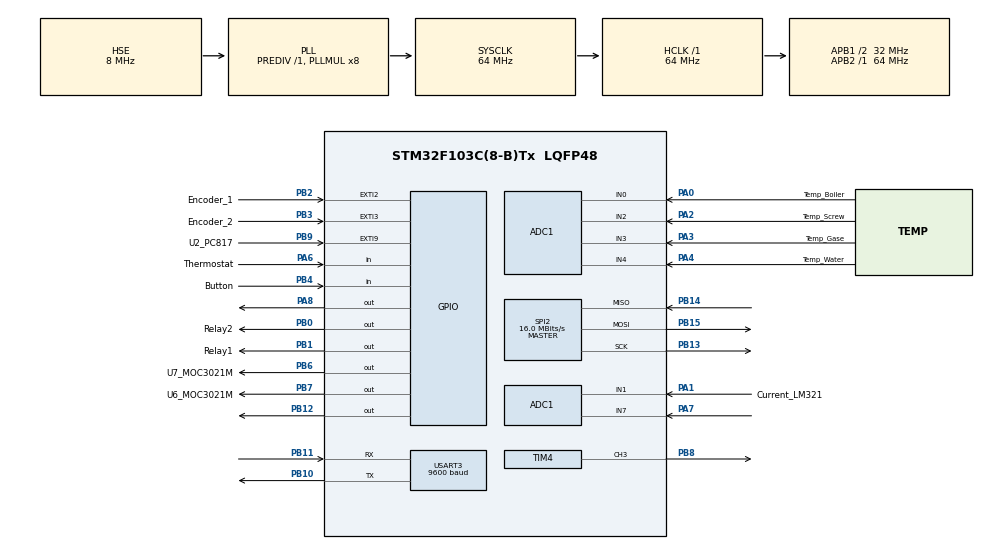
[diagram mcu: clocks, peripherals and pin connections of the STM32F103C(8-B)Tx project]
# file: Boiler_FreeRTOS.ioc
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ADC1.Channel-0\#ChannelRegularConversion=ADC_CHANNEL_0
ADC1.Channel-1\#ChannelRegularConversion=ADC_CHANNEL_1
ADC1.Channel-2\#ChannelRegularConversion=ADC_CHANNEL_2
ADC1.Channel-3\#ChannelRegularConversion=ADC_CHANNEL_3
ADC1.Channel-4\#ChannelRegularConversion=ADC_CHANNEL_4
ADC1.Channel-5\#ChannelRegularConversion=ADC_CHANNEL_7
ADC1.ContinuousConvMode=DISABLE
ADC1.NbrOfConversion=6
ADC1.NbrOfConversionFlag=1
ADC1.Rank-0\#ChannelRegularConversion=1
ADC1.Rank-1\#ChannelRegularConversion=2
ADC1.Rank-2\#ChannelRegularConversion=3
ADC1.Rank-3\#ChannelRegularConversion=4
ADC1.Rank-4\#ChannelRegularConversion=5
ADC1.Rank-5\#ChannelRegularConversion=6
ADC1.SamplingTime-0\#ChannelRegularConversion=ADC_SAMPLETIME_13CYCLES_5
ADC1.SamplingTime-1\#ChannelRegularConversion=ADC_SAMPLETIME_13CYCLES_5
ADC1.SamplingTime-2\#ChannelRegularConversion=ADC_SAMPLETIME_13CYCLES_5
ADC1.SamplingTime-3\#ChannelRegularConversion=ADC_SAMPLETIME_13CYCLES_5
ADC1.SamplingTime-4\#ChannelRegularConversion=ADC_SAMPLETIME_13CYCLES_5
ADC1.SamplingTime-5\#ChannelRegularConversion=ADC_SAMPLETIME_13CYCLES_5
ADC1.master=1
Dma.ADC1.0.Direction=DMA_PERIPH_TO_MEMORY
Dma.ADC1.0.Instance=DMA1_Channel1
Dma.ADC1.0.MemDataAlignment=DMA_MDATAALIGN_HALFWORD
Dma.ADC1.0.MemInc=DMA_MINC_ENABLE
Dma.ADC1.0.Mode=DMA_CIRCULAR
Dma.ADC1.0.PeriphDataAlignment=DMA_PDATAALIGN_HALFWORD
Dma.ADC1.0.PeriphInc=DMA_PINC_DISABLE
Dma.ADC1.0.Priority=DMA_PRIORITY_LOW
Dma.Request0=ADC1
FREERTOS.Queues01=Queue1,1,Sens_a,0,Dynamic,NULL,NULL
FREERTOS.Tasks01=defaultTask,24,128,StartDefaultTask,Default,NULL,Dynamic,NULL,NULL;Task_ADC,16,128,StartTask_ADC,Default,NULL,Dynamic,NULL,NULL;Task_T_Screw,12,64,StartTask_T_Screw,Default,NULL,Dynamic,NULL,NULL;Task_Sens_Connt,14,64,StartTask_Sens_Connect,Default,NULL,Dynamic,NULL,NULL;Task_Hopper_Cov,14,64,StartTask_Hopper_Cover,Default,NULL,Dynamic,NULL,NULL;Task_Current,13,128,StartTask_Current,Default,NULL,Dynamic,NULL,NULL;Task_T_Boiler,11,128,StartTask_T_Boiler,Default,NULL,Dynamic,NULL,NULL;Task_T_Gase,10,64,StartTask_T_Gase,Default,NULL,Dynamic,NULL,NULL;Task_T_Waters,9,64,StartTask_T_Waters,Default,NULL,Dynamic,NULL,NULL;Task_Manage,8,128,StartTask_Manage,Default,NULL,Dynamic,NULL,NULL;Task_Menu,8,128,StartTask_Menu,Default,NULL,Dynamic,NULL,NULL;Task_Button,12,128,StartTask_Button,Default,NULL,Static,Task_ButtonBuffer,Task_ButtonControlBlock;Task_SMS,12,128,StartTask_SMS,Default,NULL,Static,Task_SMSBuffer,Task_SMSControlBlock;Task_FanManage,8,64,StartTask_FanManage,Default,NULL,Static,Task_FanManageBuffer,Task_FanManageControlBlock
FREERTOS.Timers01=Timer_Try,Callback01,osTimerPeriodic,Default,NULL,Dynamic,NULL;Timer_Boiler_Zero,Callback02,osTimerOnce,Default,NULL,Dynamic,NULL;myTimer_test,Callback_test,osTimerOnce,Default,NULL,Dynamic,NULL
FREERTOS.configGENERATE_RUN_TIME_STATS=0
FREERTOS.configMAX_TASK_NAME_LEN=32
FREERTOS.configMINIMAL_STACK_SIZE=64
FREERTOS.configQUEUE_REGISTRY_SIZE=10
FREERTOS.configRECORD_STACK_HIGH_ADDRESS=0
FREERTOS.configTOTAL_HEAP_SIZE=7000
FREERTOS.configUSE_NEWLIB_REENTRANT=1
FREERTOS.configUSE_STATS_FORMATTING_FUNCTIONS=0
Mcu.Family=STM32F1
Mcu.Name=STM32F103C(8-B)Tx
Mcu.Package=LQFP48
NVIC.ADC1_2_IRQn=true\:5\:0\:false\:false\:true\:true\:true\:true\:true
NVIC.DMA1_Channel1_IRQn=true\:5\:0\:false\:false\:true\:true\:false\:true\:true
NVIC.EXTI2_IRQn=true\:5\:0\:false\:false\:true\:true\:true\:true\:true
NVIC.EXTI3_IRQn=true\:5\:0\:false\:false\:true\:true\:true\:true\:true
NVIC.EXTI9_5_IRQn=true\:5\:0\:false\:false\:true\:true\:true\:true\:true
NVIC.PriorityGroup=NVIC_PRIORITYGROUP_4
NVIC.RTC_IRQn=true\:5\:0\:false\:false\:true\:true\:true\:true\:true
NVIC.TIM1_UP_IRQn=true\:15\:0\:false\:false\:true\:false\:false\:true\:true
NVIC.TIM4_IRQn=true\:5\:0\:false\:false\:true\:true\:true\:true\:true
NVIC.TimeBase=TIM1_UP_IRQn
NVIC.TimeBaseIP=TIM1
NVIC.USART3_IRQn=true\:5\:0\:false\:false\:true\:true\:true\:true\:true
PA0-WKUP.GPIO_Label=Temp_Boiler
PA0-WKUP.Signal=ADCx_IN0
PA1.GPIO_Label=Current_LM321
PA1.Signal=ADCx_IN1
PA13.Mode=Serial_Wire
PA13.Signal=SYS_JTMS-SWDIO
PA14.Mode=Serial_Wire
PA14.Signal=SYS_JTCK-SWCLK
PA2.GPIO_Label=Temp_Screw
PA2.Signal=ADCx_IN2
PA3.GPIO_Label=Temp_Gase
PA3.Signal=ADCx_IN3
PA4.GPIO_Label=Temp_Water
PA4.Signal=ADCx_IN4
PA6.GPIO_Label=Thermostat
PA6.Signal=GPIO_Input
PA7.Signal=ADCx_IN7
PA8.Signal=GPIO_Output
PB0.GPIO_Label=Relay2
PB0.GPIO_PuPd=GPIO_NOPULL
PB0.PinState=GPIO_PIN_RESET
PB0.Signal=GPIO_Output
PB1.GPIO_Label=Relay1
PB1.GPIO_PuPd=GPIO_NOPULL
PB1.PinState=GPIO_PIN_RESET
PB1.Signal=GPIO_Output
PB10.Mode=Asynchronous
PB10.Signal=USART3_TX
PB11.Mode=Asynchronous
PB11.Signal=USART3_RX
PB12.Signal=GPIO_Output
PB13.Mode=Full_Duplex_Master
PB13.Signal=SPI2_SCK
PB14.Mode=Full_Duplex_Master
PB14.Signal=SPI2_MISO
PB15.Mode=Full_Duplex_Master
PB15.Signal=SPI2_MOSI
PB2.GPIO_Label=Encoder_1
PB2.GPIO_ModeDefaultEXTI=GPIO_MODE_IT_RISING_FALLING
PB2.Signal=GPXTI2
PB3.GPIO_Label=Encoder_2
PB3.GPIO_ModeDefaultEXTI=GPIO_MODE_IT_RISING_FALLING
PB3.GPIO_PuPd=GPIO_NOPULL
PB3.Signal=GPXTI3
PB4.GPIO_Label=Button
PB4.GPIO_PuPd=GPIO_PULLUP
PB4.Signal=GPIO_Input
PB6.GPIO_Label=U7_MOC3021M
PB6.GPIO_PuPd=GPIO_NOPULL
PB6.PinState=GPIO_PIN_RESET
PB6.Signal=GPIO_Output
PB7.GPIO_Label=U6_MOC3021M
PB7.GPIO_PuPd=GPIO_NOPULL
PB7.PinState=GPIO_PIN_RESET
PB7.Signal=GPIO_Output
PB8.GPIO_Speed=GPIO_SPEED_FREQ_HIGH
PB8.Signal=S_TIM4_CH3
PB9.GPIO_Label=U2_PC817
PB9.GPIO_ModeDefaultEXTI=GPIO_MODE_IT_FALLING
PB9.Signal=GPXTI9
PC14-OSC32_IN.Mode=LSE-External-Oscillator
PC14-OSC32_IN.Signal=RCC_OSC32_IN
PC15-OSC32_OUT.Mode=LSE-External-Oscillator
PC15-OSC32_OUT.Signal=RCC_OSC32_OUT
PD0-OSC_IN.Mode=HSE-External-Oscillator
PD0-OSC_IN.Signal=RCC_OSC_IN
PD1-OSC_OUT.Mode=HSE-External-Oscillator
PD1-OSC_OUT.Signal=RCC_OSC_OUT
ProjectManager.HeapSize=0x200
ProjectManager.StackSize=0x400
ProjectManager.TargetToolchain=STM32CubeIDE
RCC.ADCPresc=RCC_ADCPCLK2_DIV6
RCC.AHBFreq_Value=64000000
RCC.APB1CLKDivider=RCC_HCLK_DIV2
RCC.APB1Freq_Value=32000000
RCC.APB1TimFreq_Value=64000000
RCC.APB2Freq_Value=64000000
RCC.APB2TimFreq_Value=64000000
RCC.HCLKFreq_Value=64000000
RCC.PLLMUL=RCC_PLL_MUL8
RCC.PLLSourceVirtual=RCC_PLLSOURCE_HSE
RCC.RCC_MCOSource=RCC_MCO1SOURCE_PLLCLK
RCC.RTCClockSelection=RCC_RTCCLKSOURCE_LSE
RCC.SYSCLKFreq_VALUE=64000000
RCC.SYSCLKSource=RCC_SYSCLKSOURCE_PLLCLK
RCC.USBFreq_Value=64000000
RTC.Format=RTC_FORMAT_BIN
SH.ADCx_IN0.0=ADC1_IN0,IN0
SH.ADCx_IN1.0=ADC1_IN1,IN1
SH.ADCx_IN2.0=ADC1_IN2,IN2
SH.ADCx_IN3.0=ADC1_IN3,IN3
SH.ADCx_IN4.0=ADC1_IN4,IN4
SH.ADCx_IN7.0=ADC1_IN7,IN7
SH.S_TIM4_CH3.0=TIM4_CH3,PWM Generation3 CH3
SPI2.BaudRatePrescaler=SPI_BAUDRATEPRESCALER_2
SPI2.CalculateBaudRate=16.0 MBits/s
SPI2.Direction=SPI_DIRECTION_2LINES
SPI2.Mode=SPI_MODE_MASTER
SPI2.VirtualType=VM_MASTER
TIM4.Channel-PWM\ Generation3\ CH3=TIM_CHANNEL_3
TIM4.OCMode_PWM-PWM\ Generation3\ CH3=TIM_OCMODE_PWM2
TIM4.Period=9000
TIM4.Prescaler=63
TIM4.Pulse-PWM\ Generation3\ CH3=5000
USART3.BaudRate=9600
USART3.VirtualMode=VM_ASYNC
VP_FREERTOS_VS_CMSIS_V2.Mode=CMSIS_V2
VP_RTC_No_RTC_Output.Mode=RTC_OUT_NO
VP_RTC_VS_RTC_Activate.Mode=RTC_Enabled
VP_RTC_VS_RTC_Calendar.Mode=RTC_Calendar
VP_SYS_VS_tim1.Mode=TIM1
VP_TIM4_VS_OPM.Mode=OPM_bit
board=custom

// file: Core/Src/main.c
/* USER CODE BEGIN Header */
/**
  ******************************************************************************
  * @file           : main.c
  * @brief          : Main program body
  ******************************************************************************
  * @attention
  *
  * Copyright (c) 2022 STMicroelectronics.
  * All rights reserved.
  *
  * This software is licensed under terms that can be found in the LICENSE file
  * in the root directory of this software component.
  * If no LICENSE file comes with this software, it is provided AS-IS.
  *
  **************************************                                                                                                                                                      ****************************************
  */
/* USER CODE END Header */
#include "main.h"
#include "cmsis_os.h"

/* USER CODE BEGIN Includes */
#include "App/Sens_and_all.h"
#include "App/Failure.h"
#include "stdio.h" //для отладки через swo
#include "App/sim800.h"

#include "Control/buttons.h"
#include "Graphics/draw_functions.h"

//#include "freertos.c"

#define Enc_A() HAL_GPIO_ReadPin(Encoder_1_GPIO_Port, Encoder_1_Pin)
#define Enc_B() HAL_GPIO_ReadPin(Encoder_2_GPIO_Port, Encoder_2_Pin)

//uint8_t rot_old_state = 0, rot_new_state = 0;
//uint8_t rot_cnt = 0;
//uint16_t encode_val = 0;

/* USER CODE END Includes */

typedef StaticTask_t osStaticThreadDef_t;
/* USER CODE BEGIN PTD */

//typedef struct {
//
//	uint16_t Value;
//	int8_t Sender;
//
//} DataQueue;

//uint32_t DataonTask = 0;

/* USER CODE END PTD */

/* USER CODE BEGIN PD */
extern uint16_t adcData[ADC_CHANNELS_NUM]; //В буфере adcData[] будем сохранять сырые данные с АЦП
extern uint32_t adcVoltage[ADC_CHANNELS_NUM]; //пересчитанные в миллиВольты значения
extern struct Sens_Analog Sens_a;

extern uint8_t flag_work; //Запущен ли котел 0 - нет

extern uint8_t Try_count; // Кол-во попыток, устанавливается пользователем от 2 до 7
extern uint8_t Fail_current_screw_count; //кол-во аварий шнека подряд
extern uint8_t Try_Time; //- нужно добавить. Время учета попыток (функция Current_Screw) - Если следующая попытка произошла в течении этого времени, то попытка учитывается

extern int8_t rot_cnt;
extern INPUT input;
//extern Parameters state_arr[ADC_CHANNELS_NUM];

uint8_t short_clicking = 0;
uint8_t long_clicking = 0;
//uint32_t Enc_Counter = 0; //счетчик енкодера

//extern float Resist;
/* USER CODE END PD */

/* USER CODE BEGIN PM */

uint8_t Encoder_State = 0;
//uint8_t Encoder_Value = 0;
//void encode(){
//
//	  if (Enc_A() == GPIO_PIN_RESET)  // If the OUTA is RESET
//	  {
//		  if (Enc_B() == GPIO_PIN_RESET)  // If OUTB is also reset... CCK
//		  {
//			  while (Enc_B() == GPIO_PIN_RESET){osDelay(1);};  // wait for the OUTB to go high
//			  Encoder_Value--;
//			  while (Enc_A() == GPIO_PIN_RESET){osDelay(1);};  // wait for the OUTA to go high
//			  osDelay(1);
//			  //HAL_Delay (10);  // wait for some more time
//		  }
//
//		  else if (Enc_B() == GPIO_PIN_SET)  // If OUTB is also set
//		  {
//			  while (Enc_B() == GPIO_PIN_SET){osDelay(1);};  // wait for the OUTB to go LOW.. CK
//			  Encoder_Value++;
//			  while (Enc_A() == GPIO_PIN_RESET){osDelay(1);};  // wait for the OUTA to go high
//			  while (Enc_B()){osDelay(1);};  // wait for the OUTB to go high
//			  osDelay(1);
//			  //HAL_Delay (10);  // wait for some more time
//		  }
//
//		  //На случай если нужно ограничить счетчик
//		  if (Encoder_Value<0) Encoder_Value = 0;
//		  if (Encoder_Value>100) Encoder_Value = 100;
//	  }
//}

/* USER CODE END PM */

ADC_HandleTypeDef hadc1;
DMA_HandleTypeDef hdma_adc1;

RTC_HandleTypeDef hrtc;

SPI_HandleTypeDef hspi2;

TIM_HandleTypeDef htim4;

UART_HandleTypeDef huart3;

/* Definitions for defaultTask */
osThreadId_t defaultTaskHandle;
const osThreadAttr_t defaultTask_attributes = {
  .name = "defaultTask",
  .stack_size = 128 * 4,
  .priority = (osPriority_t) osPriorityNormal,
};
/* Definitions for Task_ADC */
osThreadId_t Task_ADCHandle;
const osThreadAttr_t Task_ADC_attributes = {
  .name = "Task_ADC",
  .stack_size = 128 * 4,
  .priority = (osPriority_t) osPriorityBelowNormal,
};
/* Definitions for Task_T_Screw */
osThreadId_t Task_T_ScrewHandle;
const osThreadAttr_t Task_T_Screw_attributes = {
  .name = "Task_T_Screw",
  .stack_size = 64 * 4,
  .priority = (osPriority_t) osPriorityLow4,
};
/* Definitions for Task_Sens_Connt */
osThreadId_t Task_Sens_ConntHandle;
const osThreadAttr_t Task_Sens_Connt_attributes = {
  .name = "Task_Sens_Connt",
  .stack_size = 64 * 4,
  .priority = (osPriority_t) osPriorityLow6,
};
/* Definitions for Task_Hopper_Cov */
osThreadId_t Task_Hopper_CovHandle;
const osThreadAttr_t Task_Hopper_Cov_attributes = {
  .name = "Task_Hopper_Cov",
  .stack_size = 64 * 4,
  .priority = (osPriority_t) osPriorityLow6,
};
/* Definitions for Task_Current */
osThreadId_t Task_CurrentHandle;
const osThreadAttr_t Task_Current_attributes = {
  .name = "Task_Current",
  .stack_size = 128 * 4,
  .priority = (osPriority_t) osPriorityLow5,
};
/* Definitions for Task_T_Boiler */
osThreadId_t Task_T_BoilerHandle;
const osThreadAttr_t Task_T_Boiler_attributes = {
  .name = "Task_T_Boiler",
  .stack_size = 128 * 4,
  .priority = (osPriority_t) osPriorityLow3,
};
/* Definitions for Task_T_Gase */
osThreadId_t Task_T_GaseHandle;
const osThreadAttr_t Task_T_Gase_attributes = {
  .name = "Task_T_Gase",
  .stack_size = 64 * 4,
  .priority = (osPriority_t) osPriorityLow2,
};
/* Definitions for Task_T_Waters */
osThreadId_t Task_T_WatersHandle;
const osThreadAttr_t Task_T_Waters_attributes = {
  .name = "Task_T_Waters",
  .stack_size = 64 * 4,
  .priority = (osPriority_t) osPriorityLow1,
};
/* Definitions for Task_Manage */
osThreadId_t Task_ManageHandle;
const osThreadAttr_t Task_Manage_attributes = {
  .name = "Task_Manage",
  .stack_size = 128 * 4,
  .priority = (osPriority_t) osPriorityLow,
};
/* Definitions for Task_Menu */
osThreadId_t Task_MenuHandle;
const osThreadAttr_t Task_Menu_attributes = {
  .name = "Task_Menu",
  .stack_size = 128 * 4,
  .priority = (osPriority_t) osPriorityLow,
};
/* Definitions for Task_Button */
osThreadId_t Task_ButtonHandle;
uint32_t Task_ButtonBuffer[ 128 ];
osStaticThreadDef_t Task_ButtonControlBlock;
const osThreadAttr_t Task_Button_attributes = {
  .name = "Task_Button",
  .cb_mem = &Task_ButtonControlBlock,
  .cb_size = sizeof(Task_ButtonControlBlock),
  .stack_mem = &Task_ButtonBuffer[0],
  .stack_size = sizeof(Task_ButtonBuffer),
  .priority = (osPriority_t) osPriorityLow4,
};
/* Definitions for Task_SMS */
osThreadId_t Task_SMSHandle;
uint32_t Task_SMSBuffer[ 128 ];
osStaticThreadDef_t Task_SMSControlBlock;
const osThreadAttr_t Task_SMS_attributes = {
  .name = "Task_SMS",
  .cb_mem = &Task_SMSControlBlock,
  .cb_size = sizeof(Task_SMSControlBlock),
  .stack_mem = &Task_SMSBuffer[0],
  .stack_size = sizeof(Task_SMSBuffer),
  .priority = (osPriority_t) osPriorityLow4,
};
/* Definitions for Task_FanManage */
osThreadId_t Task_FanManageHandle;
uint32_t Task_FanManageBuffer[ 64 ];
osStaticThreadDef_t Task_FanManageControlBlock;
const osThreadAttr_t Task_FanManage_attributes = {
  .name = "Task_FanManage",
  .cb_mem = &Task_FanManageControlBlock,
  .cb_size = sizeof(Task_FanManageControlBlock),
  .stack_mem = &Task_FanManageBuffer[0],
  .stack_size = sizeof(Task_FanManageBuffer),
  .priority = (osPriority_t) osPriorityLow,
};
/* Definitions for Queue1 */
osMessageQueueId_t Queue1Handle;
const osMessageQueueAttr_t Queue1_attributes = {
  .name = "Queue1"
};
/* Definitions for Timer_Try */
osTimerId_t Timer_TryHandle;
const osTimerAttr_t Timer_Try_attributes = {
  .name = "Timer_Try"
};
/* Definitions for Timer_Boiler_Zero */
osTimerId_t Timer_Boiler_ZeroHandle;
const osTimerAttr_t Timer_Boiler_Zero_attributes = {
  .name = "Timer_Boiler_Zero"
};
/* Definitions for myTimer_test */
osTimerId_t myTimer_testHandle;
const osTimerAttr_t myTimer_test_attributes = {
  .name = "myTimer_test"
};

void SystemClock_Config(void);
static void MX_GPIO_Init(void);
static void MX_DMA_Init(void);
static void MX_ADC1_Init(void);
static void MX_TIM4_Init(void);
static void MX_SPI2_Init(void);
static void MX_USART3_UART_Init(void);
static void MX_RTC_Init(void);
void StartDefaultTask(void *argument);
void StartTask_ADC(void *argument);
void StartTask_T_Screw(void *argument);
void StartTask_Sens_Connect(void *argument);
void StartTask_Hopper_Cover(void *argument);
void StartTask_Current(void *argument);
void StartTask_T_Boiler(void *argument);
void StartTask_T_Gase(void *argument);
void StartTask_T_Waters(void *argument);
void StartTask_Manage(void *argument);
void StartTask_Menu(void *argument);
void StartTask_Button(void *argument);
void StartTask_SMS(void *argument);
void StartTask_FanManage(void *argument);
void Callback01(void *argument);
void Callback02(void *argument);
void Callback_test(void *argument);

/* USER CODE BEGIN PFP */
//int _write(int file, char *ptr, int len){
//
//	int i =8;
//	for(i=0; i<len; i++)
//			ITM_SendChar((*ptr++));
//
//	return len;
//
//}

//int _write(int file, char *str, int len)
//{
//    if( HAL_UART_Transmit_IT(&huart3, str, strlen((char *)str)) == HAL_OK ) {
//        return len;
//    } else {
//        return -1;
//    }
//}

/* USER CODE END PFP */

int main(void)
{

  /* MCU Configuration--------------------------------------------------------*/

  /* Reset of all peripherals, Initializes the Flash interface and the Systick. */
  HAL_Init();

  /* Configure the system clock */
  SystemClock_Config();

  /* Initialize all configured peripherals */
  MX_GPIO_Init();
  MX_DMA_Init();
  MX_ADC1_Init();
  MX_TIM4_Init();
  MX_SPI2_Init();
  MX_USART3_UART_Init();
  MX_RTC_Init();
  /* USER CODE BEGIN 2 */
  //SIM800_Init(); //инициализация для сим800 - должна быть в таске, там нужна задержка

  HAL_ADCEx_Calibration_Start(&hadc1); //Калибровка АЦП
  HAL_ADC_Start_DMA(&hadc1, (uint32_t*) adcData, ADC_CHANNELS_NUM); //Провести измерение с АЦП-1
  //HAL_TIM_Base_Start_IT(&htim3);
  //HAL_TIM_Encoder_Start(&htim3, TIM_CHANNEL_ALL); //Запустить таймер енкодера

  /* USER CODE END 2 */

  /* Init scheduler */
  osKernelInitialize();

  /* Create the timer(s) */
  /* creation of Timer_Try */
  Timer_TryHandle = osTimerNew(Callback01, osTimerPeriodic, NULL, &Timer_Try_attributes);

  /* creation of Timer_Boiler_Zero */
  Timer_Boiler_ZeroHandle = osTimerNew(Callback02, osTimerOnce, NULL, &Timer_Boiler_Zero_attributes);

  /* creation of myTimer_test */
  myTimer_testHandle = osTimerNew(Callback_test, osTimerOnce, NULL, &myTimer_test_attributes);

  /* Create the queue(s) */
  /* creation of Queue1 */
  Queue1Handle = osMessageQueueNew (1, sizeof(Sens_a), &Queue1_attributes);

  /* Create the thread(s) */
  /* creation of defaultTask */
  defaultTaskHandle = osThreadNew(StartDefaultTask, NULL, &defaultTask_attributes);

  /* creation of Task_ADC */
  Task_ADCHandle = osThreadNew(StartTask_ADC, NULL, &Task_ADC_attributes);

  /* creation of Task_T_Screw */
  Task_T_ScrewHandle = osThreadNew(StartTask_T_Screw, NULL, &Task_T_Screw_attributes);

  /* creation of Task_Sens_Connt */
  Task_Sens_ConntHandle = osThreadNew(StartTask_Sens_Connect, NULL, &Task_Sens_Connt_attributes);

  /* creation of Task_Hopper_Cov */
  Task_Hopper_CovHandle = osThreadNew(StartTask_Hopper_Cover, NULL, &Task_Hopper_Cov_attributes);

  /* creation of Task_Current */
  Task_CurrentHandle = osThreadNew(StartTask_Current, NULL, &Task_Current_attributes);

  /* creation of Task_T_Boiler */
  Task_T_BoilerHandle = osThreadNew(StartTask_T_Boiler, NULL, &Task_T_Boiler_attributes);

  /* creation of Task_T_Gase */
  Task_T_GaseHandle = osThreadNew(StartTask_T_Gase, NULL, &Task_T_Gase_attributes);

  /* creation of Task_T_Waters */
  Task_T_WatersHandle = osThreadNew(StartTask_T_Waters, NULL, &Task_T_Waters_attributes);

  /* creation of Task_Manage */
  Task_ManageHandle = osThreadNew(StartTask_Manage, NULL, &Task_Manage_attributes);

  /* creation of Task_Menu */
  Task_MenuHandle = osThreadNew(StartTask_Menu, NULL, &Task_Menu_attributes);

  /* creation of Task_Button */
  Task_ButtonHandle = osThreadNew(StartTask_Button, NULL, &Task_Button_attributes);

  /* creation of Task_SMS */
  Task_SMSHandle = osThreadNew(StartTask_SMS, NULL, &Task_SMS_attributes);

  /* creation of Task_FanManage */
  Task_FanManageHandle = osThreadNew(StartTask_FanManage, NULL, &Task_FanManage_attributes);

  /* Start scheduler */
  osKernelStart();

  /* We should never get here as control is now taken by the scheduler */
  /* Infinite loop */
  while (1)
  {

  }
}

void SystemClock_Config(void)
{
  RCC_OscInitTypeDef RCC_OscInitStruct = {0};
  RCC_ClkInitTypeDef RCC_ClkInitStruct = {0};
  RCC_PeriphCLKInitTypeDef PeriphClkInit = {0};

  /** Initializes the RCC Oscillators according to the specified parameters
  * in the RCC_OscInitTypeDef structure.
  */
  RCC_OscInitStruct.OscillatorType = RCC_OSCILLATORTYPE_HSE|RCC_OSCILLATORTYPE_LSE;
  RCC_OscInitStruct.HSEState = RCC_HSE_ON;
  RCC_OscInitStruct.HSEPredivValue = RCC_HSE_PREDIV_DIV1;
  RCC_OscInitStruct.LSEState = RCC_LSE_ON;
  RCC_OscInitStruct.HSIState = RCC_HSI_ON;
  RCC_OscInitStruct.PLL.PLLState = RCC_PLL_ON;
  RCC_OscInitStruct.PLL.PLLSource = RCC_PLLSOURCE_HSE;
  RCC_OscInitStruct.PLL.PLLMUL = RCC_PLL_MUL8;
  if (HAL_RCC_OscConfig(&RCC_OscInitStruct) != HAL_OK)
  {
    Error_Handler();
  }

  /** Initializes the CPU, AHB and APB buses clocks
  */
  RCC_ClkInitStruct.ClockType = RCC_CLOCKTYPE_HCLK|RCC_CLOCKTYPE_SYSCLK
                              |RCC_CLOCKTYPE_PCLK1|RCC_CLOCKTYPE_PCLK2;
  RCC_ClkInitStruct.SYSCLKSource = RCC_SYSCLKSOURCE_PLLCLK;
  RCC_ClkInitStruct.AHBCLKDivider = RCC_SYSCLK_DIV1;
  RCC_ClkInitStruct.APB1CLKDivider = RCC_HCLK_DIV2;
  RCC_ClkInitStruct.APB2CLKDivider = RCC_HCLK_DIV1;

  if (HAL_RCC_ClockConfig(&RCC_ClkInitStruct, FLASH_LATENCY_2) != HAL_OK)
  {
    Error_Handler();
  }
  PeriphClkInit.PeriphClockSelection = RCC_PERIPHCLK_RTC|RCC_PERIPHCLK_ADC;
  PeriphClkInit.RTCClockSelection = RCC_RTCCLKSOURCE_LSE;
  PeriphClkInit.AdcClockSelection = RCC_ADCPCLK2_DIV6;
  if (HAL_RCCEx_PeriphCLKConfig(&PeriphClkInit) != HAL_OK)
  {
    Error_Handler();
  }
}

static void MX_ADC1_Init(void)
{

  ADC_ChannelConfTypeDef sConfig = {0};

  /** Common config
  */
  hadc1.Instance = ADC1;
  hadc1.Init.ScanConvMode = ADC_SCAN_ENABLE;
  hadc1.Init.ContinuousConvMode = DISABLE;
  hadc1.Init.DiscontinuousConvMode = DISABLE;
  hadc1.Init.ExternalTrigConv = ADC_SOFTWARE_START;
  hadc1.Init.DataAlign = ADC_DATAALIGN_RIGHT;
  hadc1.Init.NbrOfConversion = 6;
  if (HAL_ADC_Init(&hadc1) != HAL_OK)
  {
    Error_Handler();
  }

  /** Configure Regular Channel
  */
  sConfig.Channel = ADC_CHANNEL_0;
  sConfig.Rank = ADC_REGULAR_RANK_1;
  sConfig.SamplingTime = ADC_SAMPLETIME_13CYCLES_5;
  if (HAL_ADC_ConfigChannel(&hadc1, &sConfig) != HAL_OK)
  {
    Error_Handler();
  }

  /** Configure Regular Channel
  */
  sConfig.Channel = ADC_CHANNEL_1;
  sConfig.Rank = ADC_REGULAR_RANK_2;
  if (HAL_ADC_ConfigChannel(&hadc1, &sConfig) != HAL_OK)
  {
    Error_Handler();
  }

  /** Configure Regular Channel
  */
  sConfig.Channel = ADC_CHANNEL_2;
  sConfig.Rank = ADC_REGULAR_RANK_3;
  if (HAL_ADC_ConfigChannel(&hadc1, &sConfig) != HAL_OK)
  {
    Error_Handler();
  }

  /** Configure Regular Channel
  */
  sConfig.Channel = ADC_CHANNEL_3;
  sConfig.Rank = ADC_REGULAR_RANK_4;
  if (HAL_ADC_ConfigChannel(&hadc1, &sConfig) != HAL_OK)
  {
    Error_Handler();
  }

  /** Configure Regular Channel
  */
  sConfig.Channel = ADC_CHANNEL_4;
  sConfig.Rank = ADC_REGULAR_RANK_5;
  if (HAL_ADC_ConfigChannel(&hadc1, &sConfig) != HAL_OK)
  {
    Error_Handler();
  }

  /** Configure Regular Channel
  */
  sConfig.Channel = ADC_CHANNEL_7;
  sConfig.Rank = ADC_REGULAR_RANK_6;
  if (HAL_ADC_ConfigChannel(&hadc1, &sConfig) != HAL_OK)
  {
    Error_Handler();
  }

}

static void MX_RTC_Init(void)
{

  RTC_TimeTypeDef sTime = {0};
  RTC_DateTypeDef DateToUpdate = {0};

  /** Initialize RTC Only
  */
  hrtc.Instance = RTC;
  hrtc.Init.AsynchPrediv = RTC_AUTO_1_SECOND;
  hrtc.Init.OutPut = RTC_OUTPUTSOURCE_NONE;
  if (HAL_RTC_Init(&hrtc) != HAL_OK)
  {
    Error_Handler();
  }

  /** Initialize RTC and set the Time and Date
  */
  sTime.Hours = 0;
  sTime.Minutes = 0;
  sTime.Seconds = 0;

  if (HAL_RTC_SetTime(&hrtc, &sTime, RTC_FORMAT_BIN) != HAL_OK)
  {
    Error_Handler();
  }
  DateToUpdate.WeekDay = RTC_WEEKDAY_MONDAY;
  DateToUpdate.Month = RTC_MONTH_JANUARY;
  DateToUpdate.Date = 1;
  DateToUpdate.Year = 0;

  if (HAL_RTC_SetDate(&hrtc, &DateToUpdate, RTC_FORMAT_BIN) != HAL_OK)
  {
    Error_Handler();
  }

}

static void MX_SPI2_Init(void)
{

  /* SPI2 parameter configuration*/
  hspi2.Instance = SPI2;
  hspi2.Init.Mode = SPI_MODE_MASTER;
  hspi2.Init.Direction = SPI_DIRECTION_2LINES;
  hspi2.Init.DataSize = SPI_DATASIZE_8BIT;
  hspi2.Init.CLKPolarity = SPI_POLARITY_LOW;
  hspi2.Init.CLKPhase = SPI_PHASE_1EDGE;
  hspi2.Init.NSS = SPI_NSS_SOFT;
  hspi2.Init.BaudRatePrescaler = SPI_BAUDRATEPRESCALER_2;
  hspi2.Init.FirstBit = SPI_FIRSTBIT_MSB;
  hspi2.Init.TIMode = SPI_TIMODE_DISABLE;
  hspi2.Init.CRCCalculation = SPI_CRCCALCULATION_DISABLE;
  hspi2.Init.CRCPolynomial = 10;
  if (HAL_SPI_Init(&hspi2) != HAL_OK)
  {
    Error_Handler();
  }

}

static void MX_TIM4_Init(void)
{

  TIM_MasterConfigTypeDef sMasterConfig = {0};
  TIM_OC_InitTypeDef sConfigOC = {0};

  htim4.Instance = TIM4;
  htim4.Init.Prescaler = 63;
  htim4.Init.CounterMode = TIM_COUNTERMODE_UP;
  htim4.Init.Period = 9000;
  htim4.Init.ClockDivision = TIM_CLOCKDIVISION_DIV1;
  htim4.Init.AutoReloadPreload = TIM_AUTORELOAD_PRELOAD_DISABLE;
  if (HAL_TIM_PWM_Init(&htim4) != HAL_OK)
  {
    Error_Handler();
  }
  if (HAL_TIM_OnePulse_Init(&htim4, TIM_OPMODE_SINGLE) != HAL_OK)
  {
    Error_Handler();
  }
  sMasterConfig.MasterOutputTrigger = TIM_TRGO_RESET;
  sMasterConfig.MasterSlaveMode = TIM_MASTERSLAVEMODE_DISABLE;
  if (HAL_TIMEx_MasterConfigSynchronization(&htim4, &sMasterConfig) != HAL_OK)
  {
    Error_Handler();
  }
  sConfigOC.OCMode = TIM_OCMODE_PWM2;
  sConfigOC.Pulse = 5000;
  sConfigOC.OCPolarity = TIM_OCPOLARITY_HIGH;
  sConfigOC.OCFastMode = TIM_OCFAST_DISABLE;
  if (HAL_TIM_PWM_ConfigChannel(&htim4, &sConfigOC, TIM_CHANNEL_3) != HAL_OK)
  {
    Error_Handler();
  }
  HAL_TIM_MspPostInit(&htim4);

}

static void MX_USART3_UART_Init(void)
{

  huart3.Instance = USART3;
  huart3.Init.BaudRate = 9600;
  huart3.Init.WordLength = UART_WORDLENGTH_8B;
  huart3.Init.StopBits = UART_STOPBITS_1;
  huart3.Init.Parity = UART_PARITY_NONE;
  huart3.Init.Mode = UART_MODE_TX_RX;
  huart3.Init.HwFlowCtl = UART_HWCONTROL_NONE;
  huart3.Init.OverSampling = UART_OVERSAMPLING_16;
  if (HAL_UART_Init(&huart3) != HAL_OK)
  {
    Error_Handler();
  }

}

static void MX_DMA_Init(void)
{

  /* DMA controller clock enable */
  __HAL_RCC_DMA1_CLK_ENABLE();

  /* DMA interrupt init */
  /* DMA1_Channel1_IRQn interrupt configuration */
  HAL_NVIC_SetPriority(DMA1_Channel1_IRQn, 5, 0);
  HAL_NVIC_EnableIRQ(DMA1_Channel1_IRQn);

}

static void MX_GPIO_Init(void)
{
  GPIO_InitTypeDef GPIO_InitStruct = {0};

  /* GPIO Ports Clock Enable */
  __HAL_RCC_GPIOC_CLK_ENABLE();
  __HAL_RCC_GPIOD_CLK_ENABLE();
  __HAL_RCC_GPIOA_CLK_ENABLE();
  __HAL_RCC_GPIOB_CLK_ENABLE();

  /*Configure GPIO pin Output Level */
  HAL_GPIO_WritePin(GPIOB, Relay2_Pin|Relay1_Pin|GPIO_PIN_12|U7_MOC3021M_Pin
                          |U6_MOC3021M_Pin, GPIO_PIN_RESET);

  /*Configure GPIO pin Output Level */
  HAL_GPIO_WritePin(GPIOA, GPIO_PIN_8, GPIO_PIN_RESET);

  /*Configure GPIO pin : Thermostat_Pin */
  GPIO_InitStruct.Pin = Thermostat_Pin;
  GPIO_InitStruct.Mode = GPIO_MODE_INPUT;
  GPIO_InitStruct.Pull = GPIO_NOPULL;
  HAL_GPIO_Init(Thermostat_GPIO_Port, &GPIO_InitStruct);

  /*Configure GPIO pins : Relay2_Pin Relay1_Pin PB12 U7_MOC3021M_Pin
                           U6_MOC3021M_Pin */
  GPIO_InitStruct.Pin = Relay2_Pin|Relay1_Pin|GPIO_PIN_12|U7_MOC3021M_Pin
                          |U6_MOC3021M_Pin;
  GPIO_InitStruct.Mode = GPIO_MODE_OUTPUT_PP;
  GPIO_InitStruct.Pull = GPIO_NOPULL;
  GPIO_InitStruct.Speed = GPIO_SPEED_FREQ_LOW;
  HAL_GPIO_Init(GPIOB, &GPIO_InitStruct);

  /*Configure GPIO pins : Encoder_1_Pin Encoder_2_Pin */
  GPIO_InitStruct.Pin = Encoder_1_Pin|Encoder_2_Pin;
  GPIO_InitStruct.Mode = GPIO_MODE_IT_RISING_FALLING;
  GPIO_InitStruct.Pull = GPIO_NOPULL;
  HAL_GPIO_Init(GPIOB, &GPIO_InitStruct);

  /*Configure GPIO pin : PA8 */
  GPIO_InitStruct.Pin = GPIO_PIN_8;
  GPIO_InitStruct.Mode = GPIO_MODE_OUTPUT_PP;
  GPIO_InitStruct.Pull = GPIO_NOPULL;
  GPIO_InitStruct.Speed = GPIO_SPEED_FREQ_LOW;
  HAL_GPIO_Init(GPIOA, &GPIO_InitStruct);

  /*Configure GPIO pin : Button_Pin */
  GPIO_InitStruct.Pin = Button_Pin;
  GPIO_InitStruct.Mode = GPIO_MODE_INPUT;
  GPIO_InitStruct.Pull = GPIO_PULLUP;
  HAL_GPIO_Init(Button_GPIO_Port, &GPIO_InitStruct);

  /*Configure GPIO pin : U2_PC817_Pin */
  GPIO_InitStruct.Pin = U2_PC817_Pin;
  GPIO_InitStruct.Mode = GPIO_MODE_IT_FALLING;
  GPIO_InitStruct.Pull = GPIO_NOPULL;
  HAL_GPIO_Init(U2_PC817_GPIO_Port, &GPIO_InitStruct);

  /* EXTI interrupt init*/
  HAL_NVIC_SetPriority(EXTI2_IRQn, 5, 0);
  HAL_NVIC_EnableIRQ(EXTI2_IRQn);

  HAL_NVIC_SetPriority(EXTI3_IRQn, 5, 0);
  HAL_NVIC_EnableIRQ(EXTI3_IRQn);

  HAL_NVIC_SetPriority(EXTI9_5_IRQn, 5, 0);
  HAL_NVIC_EnableIRQ(EXTI9_5_IRQn);

}

void StartDefaultTask(void *argument)
{
  /* USER CODE BEGIN 5 */
  /* Infinite loop */
  //START_WORK_ALL_INTEFACES();
  for(;;)
  {
	//encode(); //енкодер
	//encode_turn();
	//encode_defense_noise();
	//encode();
//	    if (upState >= 3)
//	    {
//	      Encoder_Value+=1;
//	      upState = 0;
//	    }
//	    if (downState >= 3)
//	    {
//	      Encoder_Value-=1;
//	      downState = 0;
//	    }
    osDelay(1);
  }
  /* USER CODE END 5 */
}

void StartTask_ADC(void *argument)
{
  /* USER CODE BEGIN StartTask_ADC */
  /* Infinite loop */
  //uint8_t str[30];
  osStatus_t stat;
  osPriority_t priority;
  for(;;)
  {
	priority = osThreadGetPriority(Task_ADCHandle);
	//osThreadSetPriority(StartTask_ADC, priority+1); //повышаем приоритет Task'а который исполняется в данный момент
	//Sens_a.Temp_Boiler = 50; //Температура котла
	Average_Get_Value_mVolt(); //Снимаем показания с АЦП каналов

	//Тестовые данные для проверки работы потоков и ошибок
//	Sens_a.Temp_Boiler.value = 50; //Температура котла                                                                                                                                                                                                                                                             до
//	Sens_a.Current_LM321.value = 2000; //Ток с LM321
//	Sens_a.Temp_Screw.value = 80; //Температура шнека
//	Sens_a.Temp_Gase.value = 250; //Температура дымовых газов
//	Sens_a.Temp_Water.value = 50; //Температура ГВС
//	Sens_a.Temp_Street.value = 40; //Температура улица
//	Sens_a.Hopper_Cover.value = 0; //Крышка бункера
//	Sens_a.Thermostat.value = 0; //Термостат

//	sprintf(str, "1 ADC working!\n ");
//	HAL_UART_Transmit_IT(&huart3, str, strlen((char *)str));
	//printf("HELLO\n");

	//osMessageQueuePut(Queue1Handle, &Sens_a, 0, 200);
//	stat = osThreadGetState(Task_Hopper_CovHandle);
//	osThreadSuspend(Task_Hopper_CovHandle);
//	stat = osThreadGetState(Task_Hopper_CovHandle);

	//Enc_Counter = TIM3 -> CNT; //   енкодер

	//osThreadYield() //передаем управление след. потоку
    osDelay(20);

  }
  /* USER CODE END StartTask_ADC */
}

void StartTask_T_Screw(void *argument)
{
  /* USER CODE BEGIN StartTask_T_Screw */
  /* Infinite loop */
	//struct Sens_Analog Sens;
	//uint8_t str[30];
	for(;;)
	{
		//osMessageQueueGet(Queue1Handle, &Sens, 3, 100); //получаем данные из очереди с приоритетом 2
		//sprintf(str, "4 StartTask_T_Screw!\n ");
		//HAL_UART_Transmit_IT(&huart3, str, strlen((char *)str));

		Temp_Screw(Sens_a.Temp_Screw.value); //Проверяем на температуру шнек

	    osDelay(6);
	  }
  /* USER CODE END StartTask_T_Screw */
}

void StartTask_Sens_Connect(void *argument)
{
  /* USER CODE BEGIN StartTask_Sens_Connect */
  /* Infinite loop */
  //struct Sens_Analog Sens;
  //uint8_t str[30];
  for(;;)
  {
	//osMessageQueueGet(Queue1Handle, &Sens, 0, 100); //получаем данные из очереди

	//sprintf(str, "2-1 Sens_Connect!\n ");
	//HAL_UART_Transmit_IT(&huart3, str, strlen((char *)str));

	//Senn_Connect(0); //Если не подключен хотя бы один датчик, то остановить работу котла

	osDelay(9);
  }
  /* USER CODE END StartTask_Sens_Connect */
}

void StartTask_Hopper_Cover(void *argument)
{
  /* USER CODE BEGIN StartTask_Hopper_Cover */
  /* Infinite loop */
 // struct Sens_Analog Sens;
 // uint8_t str[30];
  for(;;)
  {
	//osMessageQueueGet(Queue1Handle, &Sens, 1, 100); //получаем данные из очереди
	//sprintf(str, "2-2 Hopper_Cover!\n ");
	//HAL_UART_Transmit_IT(&huart3, str, strlen((char *)str));

	//если подключен, то проверяем
	//if(input.state_Hopper_Cover == 1)
	//Cover_open(Sens_a.Hopper_Cover.value);

    osDelay(8);
  }
  /* USER CODE END StartTask_Hopper_Cover */
}

void StartTask_Current(void *argument)
{
  /* USER CODE BEGIN StartTask_Current */
  /* Infinite loop */
  //struct Sens_Analog Sens;
 // uint8_t str[30];

  osTimerStart(Timer_TryHandle, Try_Time*60000); //Таймер который просто сбрасывает количество попыток реверса Try_count по истечению действия

  for(;;)
  {
	//osMessageQueueGet(Queue1Handle, &Sens, 2, 100); //получаем данные из очереди
	//sprintf(str, "3 Current!\n ");
	//HAL_UART_Transmit_IT(&huart3, str, strlen((char *)str));

	//Current_Screw(input.Curr_user, Sens_a.Current_LM321.value);
    osDelay(7);
  }
  /* USER CODE END StartTask_Current */
}

void StartTask_T_Boiler(void *argument)
{
  /* USER CODE BEGIN StartTask_T_Boiler */
  /* Infinite loop */
  //struct Sens_Analog Sens;
  //uint8_t str[15];
  osTimerStart(Timer_Boiler_ZeroHandle, input.time_boiler_zero*60000); //Таймер который по истечении начнет учет погас ли бойлер
  for(;;)
  {
	//osMessageQueueGet(Queue1Handle, &Sens, 4, 100); //получаем данные из очереди
	//sprintf(str, "5 T_Boiler!\n ");
	//HAL_UART_Transmit_IT(&huart3, str, strlen((char *)str));

	//Аварии: превышение температуры 90-95град и затухание 40<
	//Temp_Boiler(Sens_a.Temp_Boiler.value);

	if(flag_zero_boiler == 1){
		Boiler_Temp_Zero(input.Temp_Boiler_Zero_User, Sens_a.Temp_Boiler.value);}

	//если термостат подключенthermostat_onoff
	if(input.thermostat_onoff == 1){

		//если догрел до определенной температуры, то выключить  шнек и вентилятор
		if(Sens_a.Thermostat.value == flag_thermostat_type && flag_mode_support == 0){

			if(flag_mode_support_onoff == 1) flag_mode_support = 1; //если включен режим поддержки

			flag_Screw_work = 0; //по сути выключаем шнек
			flag_pwm_fan = 0; //и вентилятор

		}

		//если не догрел, то дальше греем
		if(Sens_a.Thermostat.value != flag_thermostat_type && flag_mode_support == 0 ){

			if(flag_mode_support_onoff == 1) flag_mode_support = 1; //если включен режим поддержки

			flag_Screw_work = 1; //по сути включаем шнек и вентилятор
			//flag_pwm_fan = 1; //и вентилятор
		}

		//если догрел до температуры и включен режим поддержания температуры, то
		if(Sens_a.Thermostat.value == flag_thermostat_type && flag_mode_support == 1 ){

			//if(flag_mode_support_onoff == 1) flag_mode_support = 1; //если включен режим поддержки
			flag_Screw_work = 1;

		}

		//Если мы повысили температуру на термостате, то нужно снова в нагрев перейти
		if(Sens_a.Thermostat.value != flag_thermostat_type && flag_mode_support == 1 ){
			flag_mode_support = 0; //если включен режим поддержки

		}

//		//если догрел до температуры и включен режим поддержания температуры, то
//		if(Sens_a.Thermostat.value == flag_thermostat_type && Sens_a.Temp_Boiler.value < input.Temp_Central_Heating - input.Temp_Central_Heating_Hysteresis && flag_mode_support == 1 ){
//
//			if(flag_mode_support_onoff == 1) flag_mode_support = 1; //если включен режим поддержки
//
//		}

		}	 else{ //если термостат не подключен

	//Если температура котла, достигла установленную пользователем плюс гистерезис, то дождаться падения температуры на 5град (величину гистерезиса минус) и продолжить работу котла или перейти в режим поддержания температуры(когда шнек и вентилятор работают иначе)
	if(Sens_a.Temp_Boiler.value  >= input.Temp_Central_Heating + input.Temp_Central_Heating_Hysteresis && flag_mode_support == 0 ){

		if(flag_mode_support_onoff == 1) flag_mode_support = 1; //если включен режим поддержки

		flag_Screw_work = 0; //по сути выключаем шнек
		flag_pwm_fan = 0; //и вентилятор
	}

	//Если температура котла достигла нижней границы установленной пользователем (упала), то включить шнек и вентилятор
	if(Sens_a.Temp_Boiler.value < input.Temp_Central_Heating - input.Temp_Central_Heating_Hysteresis  && flag_mode_support == 0 ){

		if(flag_mode_support_onoff == 1) flag_mode_support = 1; //если включен режим поддержки

		flag_Screw_work = 1; //по сути включаем шнек и вентилятор
		//flag_pwm_fan = 1; //и вентилятор
	}

	//Если температура котла стала меньше на величину гистерезиса, то перейдем в режим поддержки
	if(Sens_a.Temp_Boiler.value < input.Temp_Central_Heating - input.Temp_Central_Heating_Hysteresis && flag_mode_support == 1){

		if(flag_mode_support_onoff == 1) flag_mode_support = 1;
		}
	}

    osDelay(5);
  }

  /* USER CODE END StartTask_T_Boiler */
}

void StartTask_T_Gase(void *argument)
{
  /* USER CODE BEGIN StartTask_T_Gase */
  /* Infinite loop */
  //struct Sens_Analog Sens;
  //uint8_t str[30];
  for(;;)
  {

	//osMessageQueueGet(Queue1Handle, &Sens, 5, 100); //получаем данные из очереди
	//sprintf(str, "6 T_Gase!\n ");
	//HAL_UART_Transmit_IT(&huart3, str, strlen((char *)str));

	//если подключен
	if(input.state_Temp_Gase == 1)
	Temp_Gase(input.temp_gase_user, Sens_a.Temp_Gase.value);

	osDelay(4);
  }
  /* USER CODE END StartTask_T_Gase */
}

void StartTask_T_Waters(void *argument)
{
  /* USER CODE BEGIN StartTask_T_Waters */
  /* Infinite loop */
	//struct Sens_Analog Sens;
	//uint8_t str[30];
	for(;;)
	{
		//osMessageQueueGet(Queue1Handle, &Sens, 6, 100); //получаем данные из очереди
		//sprintf(str, "7 T_Waters!\n ");
		//HAL_UART_Transmit_IT(&huart3, str, strlen((char *)str));

		Temp_Сentral_Heating(Sens_a.Temp_Water.value);

	    osDelay(3);
	}
  /* USER CODE END StartTask_T_Waters */
}

void StartTask_Manage(void *argument)
{
  /* USER CODE BEGIN StartTask_Manage */
  /* Infinite loop */

  //uint8_t str[10];

  for(;;)
  {
	//sprintf(str, "Manage!\n ");
	//HAL_UART_Transmit_IT(&huart3, str, strlen((char *)str));

	if(flag_Screw_work == 1){

	//режим нагрева, постоянно подаем топливо
	if(flag_mode_support == 0 && flag_work == 1 && flag_hand_fire == 0){

		//flag_pwm_fan = 1;
		Screw_process_repeate(0, input.time_engine_work_mode_1, input.time_engine_not_work_mode_1, 1);

	}

	//режим поддержки, топливо и воздух подаются размерно по новым параметрам
	if(flag_mode_support == 1 && flag_work == 1 && flag_hand_fire == 0){

		//Blowdown(input.time_fan_work_mode_2, input.time_fan_not_work_mode_2); //Режим продува
		Screw_process_repeate(0, input.time_engine_work_mode_2, input.time_engine_not_work_mode_2, 1);

	}

	}

    osDelay(1);
  }
  /* USER CODE END StartTask_Manage */
}

void StartTask_Menu(void *argument)
{
  /* USER CODE BEGIN StartTask_Menu */
  /* Infinite loop */
	//uint8_t str[10];
	osTimerStart(myTimer_testHandle, 1);
	//START_WORK_ALL_INTEFACES();
	//запускаем работу котла

	START_WORK_ALL_INTEFACES();
	flag_work = 1;
	for(;;){

		//sprintf(str, "Menu!\n ");
		//HAL_UART_Transmit_IT(&huart3, str, strlen((char *)str));

		//Жестко заданные параметры по умолчанию, лишь некоторые можно редактировать - не подключено внутри кода
		if(1==0){
		input_hard.temp_sneak_default; // = 85 предельная температура на шнеке temp_sneak >= 85 (если так, то это возгорание шнека)

		input_hard.temp_fan_default; // = 90 предельная температура котла при которой отключается вентилятор

		input_hard.temp_central_heat; // = 40 температура при которой включается насос ЦО

		input_hard.Curr_default;//Ток двигателя при зажатой доске, установлмвается пользователем, диапазон токов 100-5000мА, по умолчанию 1600мА

		input_hard.Try_count_default; // Кол-во попыток реверса при аварии шнека, устанавливается пользователем от 2 до 7, по умолчанию 3
		input_hard.Fail_current_screw_count_default; //кол-во аварий шнека подряд (до Try_count), по умолчанию 0 (всегда ноль)
		input_hard.Try_Time_default; // Время учета попыток (функция Current_Screw) - Если следующая попытка произошла в течении этого времени, то попытка учитывается, диапазон 7-15м, по умолчанию 10

		//Должно отчасти определять input значения
		//input = {40, 15, 2000, 300, 80, 100,  5, 5,  1, 1,  10, 2,  0, 10,  1,  60, 1, 3, 0};
		}

		//Вкл-выкл датчики - в файле sens_and_all
		//Sens_a.Temp_Boiler.state = 0;

		//Редактировать параметры можно только в режиме стоп flag_work=0
		uint8_t flag_permit = 1;
		//if(flag_work == 0 && flag_permit == 1){
		if(flag_work == 1 && flag_permit == 1){
		//{40, 15, 2000, 300, 80, 100,  5, 5,  1, 1,  10, 2,  0, 10,  1,  60, 1, 3}

		flag_mode_support_onoff = 0; // включить режим поддеркжи (не путать с другим флагом)

		input.Temp_Boiler_Zero_User = 40; //температура котла при которой котел отключится (будет считаться погасшим)
		input.time_boiler_zero = 15; //время в минутах, которое дается на розжиг котла

		input.Curr_user = 2000; //Ток двигателя при зажатой доске, установливается пользователем, диапазон токов 100-5000мА

		input.temp_gase_user = 300; //температура дымовых газов 130-300 (не учитывается первые 15 минут работы котла)

		input.power_fan_rude = 40; //мощность грубая в процентах вентилятора (10-100)
		input.power_fan_perfect = 100; //мощность точная в процентах вентилятора (0-100)
		input.time_fan_work_mode_2 = 5; // Время работы вентилятора 0-200 с в режиме поддержки
		input.time_fan_not_work_mode_2 = 5; // Время не работы вентилятора 0-200 с в режиме поддержки

		input.time_engine_work_mode_1 = 5; // Время работы шнека 0-200 с в режиме нагрева
		input.time_engine_not_work_mode_1 = 5; //Время не работы шнека 0-200 с в режиме нагрева

		input.time_engine_work_mode_2 =5; // Время работы шнека 0-200 с в режиме поддержки
		input.time_engine_not_work_mode_2 = 5; //Время не работы шнека 0-200 с в режиме поддержки

		input.Try_count = 5; // Кол-во попыток реверса при аварии шнека, устанавливается пользователем от 2 до 7
		input.Fail_current_screw_count = 10; //кол-во аварий шнека подряд (до Try_count)
		input.Try_Time = 15; // Время учета попыток (функция Current_Screw) - Если следующая попытка произошла в течении этого времени, то попытка учитывается, диапазон 7-15м

		input.Temp_Central_Heating = 58; //температура ЦО от 45 до 85 - Здесь задаем температуру до которой котел должен греться
		input.Temp_Central_Heating_Hysteresis = 5; //гистерезис ЦО от 1 до 5

		input.Temp_Water = 60; //температура ГВС от 45 до 85 - Здесь задаем температуру до которой ГВС должен греться
		input.Temp_Water_Hysteresis = 5; //гистерезис определяет запаздывв ГВС от 1 до 5

		input.pump_mode = 0; //Параметр выбора режима по насосам 0-Только насос ЦО 1 - только насос ГВС 2-Насос и ГВС
		input.thermostat_onoff = 1; //Подключен ли термостат 0 - нет, 1 - да
		input.thermostat_type = 0; //Параметр выбора режима по термостату 0-нормально разомкнутый (при нагревании дает 0) 1 - нормально замкнутый (при нагревании дает 1)
		input.fan_mode = 0; //выбор типа вентилятора (у конкурентов только 1 тип)

		//подключены ли датчики
		input.state_Boiler = 1;
		input.state_Temp_Screw = 1;
		input.state_Temp_Gase = 0;
		input.state_Temp_Water = 0;
		input.state_Temp_Street = 0;
		input.state_Hopper_Cover = 1;

		}

		//Если датчики не подключены, то некоторые Task необходимо отправить в состояние Blocked
		//if(input.state_Hopper_Cover == 0) osThreadSuspend(Task_Hopper_CovHandle);
		//if(input.state_Hopper_Cover == 1) osThread(Task_Hopper_CovHandle);

		//Настройка термостата взависимости от введенных парамтеров
		if(input.thermostat_onoff == 1){
			//термостату 0-нормально разомкнутый
			if(input.thermostat_type == 0) flag_thermostat_type = 1;
			if(input.thermostat_type == 1) flag_thermostat_type = 0;
		}

		//Ручной режим
		uint8_t flag_work_hand = 0;
		uint8_t command_work_hand = 0;
		if(flag_work_hand == 1){

			flag_work = 0;

			switch(command_work_hand){

			case 1:
				Screw_direct(); //вкл прямой ход шнека
				break;
			case 2:
				Screw_reverse(); //вкл обратный ход шнека
				break;
			case 3:
				Relay_off(); //выключить шнек
				break;
			case 4:
				Pumps_Сentral_Heating(0); //вкл насос ЦО
				break;
			case 5:
				Pumps_Сentral_Heating(1); //выкл насос ЦО
				break;
			case 6:
				Pumps_Water_Supply(0); //вкл насос ГВС
				break;
			case 7:
				Pumps_Water_Supply(1); //выкл насос ГВС
				break;
			case 8:
				Set_PWM_ONOFF(1); //вкл вентилятор
				Set_PWM_ZC_T4C3_Percent_Power(100); //задать мощность вентилятора в процентах
				break;
			case 9:
				Set_PWM_ONOFF(0); //выкл вентилятор
				break;

			case 10:
				flag_hand_fire = 1;
				Hand_Fire(); //Вкл режим ручная топка - не сюда, но пусть пока тут будет
				break;
			case 11:
				flag_hand_fire = 0; //Выкл режим ручная топка - не сюда, но пусть пока тут будет
				break;
			}

		//STOP_WORK_ALL();
		}

		//код для тарировки бункера
		uint8_t flag_fill = 0;
		uint8_t command_fill = 0;
		uint8_t tim_perc = 0;
		if(flag_fill == 1){

			switch(command_fill){

				case 1:
					Time_Fl(); //бак полон
					break;
				case 2:
					Time_Emp(); //бак пуст
					Time_Fuel_Combustion(); //Вычисляем время сгорания топлива
					//записать в память время сгорания
					Time_Combustion=Time_Combustion-HAL_GetTick();
					tim_perc = Percent_Combustion(Time_Combustion); //в процентах получаем сколько топлива осталось
					break;

					}
			}

//		//запускаем работу котла
//		flag_work = 0;
//		START_WORK_ALL_INTEFACES();
//		if(flag_work == 1){
//		START_WORK_ALL_INTEFACES();}

//		UpdateButtonsStates();
//		UpdateScreen();

	    osDelay(7);
  }
  /* USER CODE END StartTask_Menu */
}

/* USER CODE BEGIN Header_StartTask_Button */

/**
* @brief Function implementing the Task_Button thread.
* @param argument: Not used
* @retval None
*/

uint8_t button(){

	uint32_t Time_button_start = HAL_GetTick();
	uint32_t Time_button_press = 0;

		//если кнопка нажата, то
		if(HAL_GPIO_ReadPin(Button_GPIO_Port, Button_Pin) == 0){

			//определим короткое нажатие в 0.5 сек
			while(HAL_GPIO_ReadPin(Button_GPIO_Port, Button_Pin) == 0 ) {

				Time_button_press+=HAL_GetTick() - Time_button_start;

				osDelay(20);
			}

	//		if(TIME_BUTTON_SHORT <= Time_button_press){
	//			long_clicking = 0;
	//			short_clicking = 1;
	//		}
			Time_button_press = Time_button_press/10;

			if(TIME_BUTTON_SHORT >= Time_button_press ){
				long_clicking = 0;
				short_clicking = 1;

				if(button_mail.mail_state == BUTTON_MAIL_PROCESSED) {

					button_mail.mail_state = BUTTON_MAIL_UPDATED;
					button_mail.button_type = BUTTON_CENTER;
					button_mail.button_state = BUTTON_SHORT_PUSHED;

				}

				return 1;
			}
			//osDelay(150);

			if(Time_button_press >= TIME_BUTTON_LONG && Time_button_press > TIME_BUTTON_SHORT){
				long_clicking = 1;
				short_clicking = 0;

				if(button_mail.mail_state == BUTTON_MAIL_PROCESSED) {

					button_mail.mail_state = BUTTON_MAIL_UPDATED;
					button_mail.button_type = BUTTON_CENTER;
					button_mail.button_state = BUTTON_LONG_PUSHED;
				}

				return 2;
			}

			if(button_mail.mail_state == BUTTON_MAIL_PROCESSED) {

				button_mail.mail_state = BUTTON_MAIL_UPDATED;
				button_mail.button_type = BUTTON_CENTER;
				button_mail.button_state = BUTTON_UP;
			}

			return 0;

		} else {
			long_clicking = 0;
			short_clicking = 0;

			if(button_mail.mail_state == BUTTON_MAIL_PROCESSED) {

				button_mail.mail_state = BUTTON_MAIL_UPDATED;
				button_mail.button_type = BUTTON_CENTER;
				button_mail.button_state = BUTTON_UP;
			}

			return 0;
		}

}
uint8_t PressF = 0;
/* USER CODE END Header_StartTask_Button */
void StartTask_Button(void *argument)
{
  /* USER CODE BEGIN StartTask_Button */
  /* Infinite loop */
  //uint8_t str[10];
  for(;;)
  {

	//sprintf(str, "Button!\n ");
	//HAL_UART_Transmit_IT(&huart3, str, strlen((char *)str));

	  PressF = button();

	  //osDelay(50);

//	if(HAL_GPIO_ReadPin(Button_GPIO_Port, Button_Pin) == 1){
//
//		//определим короткое нажатие в 0.5 сек
//		while(HAL_GPIO_ReadPin(Button_GPIO_Port, Button_Pin) == 1) { osDelay(50); }
//		long_clicking = 1;
//
//
//
//	} else {
//		long_clicking = 0;
//		short_clicking = 0;
//	}

    osDelay(10);
  }
  /* USER CODE END StartTask_Button */
}

void StartTask_SMS(void *argument)
{
  /* USER CODE BEGIN StartTask_SMS */
  /* Infinite loop */
  HAL_UART_Receive_IT(UART_SIM800, &rx_data, 1); //Запускаем прием по UART для SIM800
  //SIM800_Init(); //инициализация для сим800 - должна быть в таске, там нужна задержка
  SIM800_Init();

  uint8_t PowSignal = 0;
  for(;;)
  {

	  PowSignal = Sim800_Get_Signal(); //Получаем уровень сигнала
	  //uint8_t S = strstr("OK", "OK");

	  //SIM800_Init();
	  //sprintf(str, "Button!\n ");
	  //HAL_UART_Transmit_IT(&huart3, str, strlen((char *)str));
	  //HAL_UART_Receive_IT(&huart3, str, strlen((char *)str));

	  //sprintf(str, "Button!\n ");
	  //HAL_UART_Transmit_IT(&huart3, str, strlen((char *)str));
	  //answer = "AT\r\n\0"
	  //SIM800_SendCommand(answer, char *reply, CMD_DELAY);

    //HAL_Delay(1000);
    osDelay(15);
  }
  /* USER CODE END StartTask_SMS */
}

void StartTask_FanManage(void *argument)
{
  /* USER CODE BEGIN StartTask_FanManage */
  /* Infinite loop */
  for(;;)
  {

		if(flag_Screw_work == 1){

		//режим нагрева, постоянно подаем топливо
		if(flag_mode_support == 0 && flag_work == 1 && flag_hand_fire == 0){

			flag_pwm_fan = 1;
			//Screw_process_repeate(0, input.time_engine_work_mode_1, input.time_engine_not_work_mode_1, 1);

		}

		//режим поддержки, топливо и воздух подаются размерно по новым параметрам
		if(flag_mode_support == 1 && flag_work == 1 && flag_hand_fire == 0){

			Blowdown(input.time_fan_work_mode_2, input.time_fan_not_work_mode_2); //Режим продува
			//Screw_process_repeate(0, input.time_engine_work_mode_2, input.time_engine_not_work_mode_2, 1);

		}

		}

    osDelay(15);
  }
  /* USER CODE END StartTask_FanManage */
}

/* Callback01 function */
void Callback01(void *argument)
{
  /* USER CODE BEGIN Callback01 */
  //По просшествии таймера Timer_Try, вызовится данный Callback

	Try_count = input.Try_count; //сбрасываем значения попыток

  /* USER CODE END Callback01 */
}

/* Callback02 function */
void Callback02(void *argument)
{
  /* USER CODE BEGIN Callback02 */
	flag_zero_boiler = 1; //начинаем учитывать, что котел может погаснуть
  /* USER CODE END Callback02 */
}

/* Callback_test function */
void Callback_test(void *argument)
{
  /* USER CODE BEGIN Callback_test */
//	Sens_a.Temp_Boiler.voltage = 3300;
//	Sens_a.Temp_Boiler.value = 50; //Температура котла
//	Sens_a.Temp_Boiler.state = input.state_Boiler;
//
//	Sens_a.Current_LM321.voltage = 1000;
//	Sens_a.Current_LM321.value = 2000; //Ток с LM321
//	Sens_a.Current_LM321.state = input.state_Temp_Screw;
//
//	Sens_a.Temp_Screw.voltage = 1000;
//	Sens_a.Temp_Screw.value = 80; //Температура шнека
//	Sens_a.Temp_Screw.state = input.state_Temp_Screw; //-
//
//	Sens_a.Temp_Gase.voltage = 1000;
//	Sens_a.Temp_Gase.value = 250; //Температура дымовых газов
//	Sens_a.Temp_Gase.state = input.state_Temp_Gase; //-
//
//	Sens_a.Temp_Water.voltage = 1000;
//	Sens_a.Temp_Water.value = 50; //Температура ГВС
//	Sens_a.Temp_Water.state = input.state_Temp_Water; //-
//
//	Sens_a.Temp_Street.voltage = 1000;
//	Sens_a.Temp_Street.value = 40; //Температура улица
//	Sens_a.Temp_Street.state = input.state_Temp_Street; //-
//
//	Sens_a.Hopper_Cover.voltage = 1000;
//	Sens_a.Hopper_Cover.value = 0; //Крышка бункера
//	Sens_a.Hopper_Cover.state = input.state_Hopper_Cover;
//
//	Sens_a.Thermostat.voltage = 1000;
//	Sens_a.Thermostat.value = 0; //Термостат
//	Sens_a.Thermostat.state = input.thermostat_onoff; //-
//
//
//
//	state_arr[0].state = Sens_a.Temp_Boiler.state;
//	state_arr[0].voltage = Sens_a.Temp_Boiler.voltage;
//
//	state_arr[1].state = Sens_a.Temp_Screw.state;
//	state_arr[1].voltage = Sens_a.Temp_Screw.voltage;
//
//	state_arr[2].state = Sens_a.Temp_Gase.state;
//	state_arr[2].voltage = Sens_a.Temp_Gase.voltage;
//
//	state_arr[3].state = Sens_a.Temp_Water.state;
//	state_arr[3].voltage = Sens_a.Temp_Water.voltage;
//
//	state_arr[4].state = Sens_a.Temp_Street.state;
//	state_arr[4].voltage = Sens_a.Temp_Street.voltage;
//
//	state_arr[5].state = Sens_a.Thermostat.state;
//	state_arr[5].voltage = Sens_a.Thermostat.voltage;

  /* USER CODE END Callback_test */
}

void HAL_TIM_PeriodElapsedCallback(TIM_HandleTypeDef *htim)
{
  if (htim->Instance == TIM1) {
    HAL_IncTick();
  }
  /* USER CODE BEGIN Callback 1 */
//  if (htim->Instance == TIM2)
//  {
//	  encode(); //енкодер
//
////
////	  	NewState=Encoder_State;
////	  	if(NewState != OldState)
////	  	{
////	  	switch(OldState)
////	  		{
////	  		case 2:
////	  			{
////	  			if(NewState == 3) upState++;
////	  			if(NewState == 0) downState++;
////	  			break;
////	  			}
////
////	  		case 0:
////	  			{
////	  			if(NewState == 2) upState++;
////	  			if(NewState == 1) downState++;
////	  			break;
////	  			}
////	  		case 1:
////	  			{
////	  			if(NewState == 0) upState++;
////	  			if(NewState == 3) downState++;
////	  			break;
////	  			}
////	  		case 3:
////	  			{
////	  			if(NewState == 1) upState++;
////	  			if(NewState == 2) downState++;
////	  			break;
////	  			}
////	  		}
////	  	OldState=NewState;
////	  	}
//
////	  	NewState=(ENC_B() & 0b00011000)>>3;
////	  	if(!(ENC_B()&0b00000100)) cnt = 0;
////	  	switch(OldState | NewState)
////	  		{
////	  		case 0x01: case 0x0e:
////	  			cnt++;
////	  			break;
////	  		case 0: case 0x0b:
////	  			cnt--;
////	  			break;
////	  		}
////	  	OldState=NewState<<2;
//  }
  /* USER CODE END Callback 1 */
}

void Error_Handler(void)
{
  __disable_irq();
  while (1)
  {
  }
}
